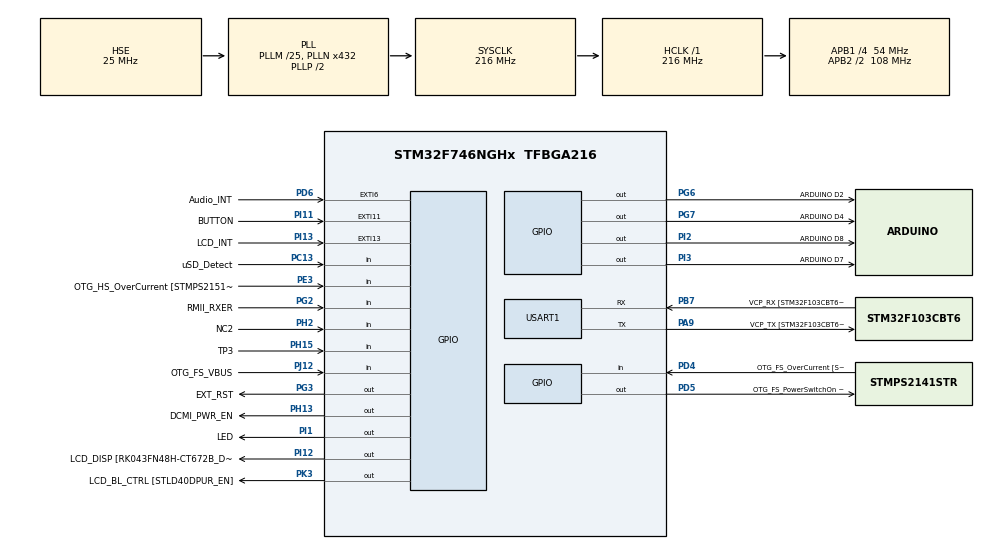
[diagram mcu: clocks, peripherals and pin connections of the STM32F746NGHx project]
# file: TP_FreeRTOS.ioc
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FREERTOS.Tasks01=defaultTask,0,128,StartDefaultTask,Default,NULL,Dynamic,NULL,NULL
Mcu.Family=STM32F7
Mcu.Name=STM32F746NGHx
Mcu.Package=TFBGA216
NVIC.PriorityGroup=NVIC_PRIORITYGROUP_4
NVIC.TIM6_DAC_IRQn=true\:15\:0\:false\:false\:true\:false\:false\:true\:true
NVIC.TimeBase=TIM6_DAC_IRQn
NVIC.TimeBaseIP=TIM6
PA0/WKUP.GPIO_Label=ARDUINO A0
PA0/WKUP.GPIO_Mode=GPIO_MODE_ANALOG
PA0/WKUP.GPIO_PuPd=GPIO_NOPULL
PA0/WKUP.Signal=ADCx_IN0
PA1.GPIO_Label=RMII_REF_CLK [LAN8742A-CZ-TR_REFCLK0]
PA1.Signal=ETH_REF_CLK
PA10.GPIO_Label=OTG_FS_ID
PA10.Signal=USB_OTG_FS_ID
PA11.GPIO_Label=OTG_FS_N
PA11.Signal=USB_OTG_FS_DM
PA12.GPIO_Label=OTG_FS_P
PA12.Signal=USB_OTG_FS_DP
PA13.GPIO_Label=SWDIO
PA13.Mode=Serial_Wire
PA13.Signal=SYS_JTMS-SWDIO
PA14.GPIO_Label=SWCLK
PA14.Mode=Serial_Wire
PA14.Signal=SYS_JTCK-SWCLK
PA15.GPIO_Label=ARDUINO PWM/D9
PA15.GPIO_ModeDefaultPP=GPIO_MODE_AF_PP
PA15.GPIO_PuPd=GPIO_NOPULL
PA15.GPIO_Speed=GPIO_SPEED_FREQ_LOW
PA15.Signal=S_TIM2_CH1_ETR
PA2.GPIO_Label=RMII_MDIO [LAN8742A-CZ-TR_MDIO]
PA2.Signal=ETH_MDIO
PA3.GPIO_Label=ULPI_D0 [USB3320C-EZK_D0]
PA3.Signal=USB_OTG_HS_ULPI_D0
PA4.GPIO_Label=DCMI_HSYNC
PA4.Signal=DCMI_HSYNC
PA5.GPIO_Label=ULPI_CLK [USB3320C-EZK_CLKOUT]
PA5.Signal=USB_OTG_HS_ULPI_CK
PA6.Signal=DCMI_PIXCLK
PA7.GPIO_Label=RMII_CRS_DV [LAN8742A-CZ-TR_CRS_DV]
PA7.Signal=ETH_CRS_DV
PA8.GPIO_Label=ARDUINO PWM/D10
PA8.GPIO_ModeDefaultPP=GPIO_MODE_AF_PP
PA8.GPIO_PuPd=GPIO_NOPULL
PA8.GPIO_Speed=GPIO_SPEED_FREQ_LOW
PA8.Signal=S_TIM1_CH1
PA9.GPIO_Label=VCP_TX [STM32F103CBT6_PA3]
PA9.GPIO_Mode=GPIO_MODE_AF_PP
PA9.GPIO_PuPd=GPIO_NOPULL
PA9.GPIO_Speed=GPIO_SPEED_FREQ_LOW
PA9.Mode=Asynchronous
PA9.Signal=USART1_TX
PB0.GPIO_Label=ULPI_D1 [USB3320C-EZK_D1]
PB0.Signal=USB_OTG_HS_ULPI_D1
PB1.GPIO_Label=ULPI_D2 [USB3320C-EZK_D2]
PB1.Signal=USB_OTG_HS_ULPI_D2
PB10.GPIO_Label=ULPI_D3 [USB3320C-EZK_D3]
PB10.Signal=USB_OTG_HS_ULPI_D3
PB11.GPIO_Label=ULPI_D4 [USB3320C-EZK_D4]
PB11.Signal=USB_OTG_HS_ULPI_D4
PB12.GPIO_Label=ULPI_D5 [USB3320C-EZK_D5]
PB12.Signal=USB_OTG_HS_ULPI_D5
PB13.GPIO_Label=ULPI_D6 [USB3320C-EZK_D6]
PB13.Signal=USB_OTG_HS_ULPI_D6
PB14.GPIO_Label=ARDUINO MISO/D12
PB14.GPIO_Mode=GPIO_MODE_AF_PP
PB14.GPIO_PuPd=GPIO_NOPULL
PB14.GPIO_Speed=GPIO_SPEED_FREQ_LOW
PB14.Signal=SPI2_MISO
PB15.GPIO_Label=ARDUINO MOSI/PWM/D11
PB15.GPIO_Mode=GPIO_MODE_AF_PP
PB15.GPIO_PuPd=GPIO_NOPULL
PB15.GPIO_Speed=GPIO_SPEED_FREQ_LOW
PB15.Signal=SPI2_MOSI
PB2.Signal=QUADSPI_CLK
PB3.GPIO_Label=SWO
PB3.Signal=SYS_JTDO-SWO
PB4.GPIO_Label=ARDUINO PWM/D3
PB4.GPIO_ModeDefaultPP=GPIO_MODE_AF_PP
PB4.GPIO_PuPd=GPIO_NOPULL
PB4.GPIO_Speed=GPIO_SPEED_FREQ_LOW
PB4.Signal=S_TIM3_CH1
PB5.GPIO_Label=ULPI_D7 [USB3320C-EZK_D7]
PB5.Signal=USB_OTG_HS_ULPI_D7
PB6.GPIO_Label=QSPI_NCS [N25Q128A13EF840E_S]
PB6.Signal=QUADSPI_BK1_NCS
PB7.GPIO_Label=VCP_RX [STM32F103CBT6_PA2]
PB7.GPIO_Mode=GPIO_MODE_AF_PP
PB7.GPIO_PuPd=GPIO_NOPULL
PB7.GPIO_Speed=GPIO_SPEED_FREQ_LOW
PB7.Mode=Asynchronous
PB7.Signal=USART1_RX
PB8.GPIO_Label=ARDUINO SCL/D15
PB8.GPIO_Mode=GPIO_MODE_AF_OD
PB8.GPIO_PuPd=GPIO_NOPULL
PB8.GPIO_Speed=GPIO_SPEED_FREQ_LOW
PB8.Signal=I2C1_SCL
PB9.GPIO_Label=ARDUINO SDA/D14
PB9.GPIO_Mode=GPIO_MODE_AF_OD
PB9.GPIO_PuPd=GPIO_NOPULL
PB9.GPIO_Speed=GPIO_SPEED_FREQ_LOW
PB9.Signal=I2C1_SDA
PC0.GPIO_Label=ULPI_STP [USB3320C-EZK_STP]
PC0.Signal=USB_OTG_HS_ULPI_STP
PC1.GPIO_Label=RMII_MDC [LAN8742A-CZ-TR_MDC]
PC1.Signal=ETH_MDC
PC10.GPIO_Label=SDMMC_D2
PC10.Signal=SDMMC1_D2
PC11.GPIO_Label=SDMMC_D3
PC11.Signal=SDMMC1_D3
PC12.GPIO_Label=SDMMC_CK
PC12.Signal=SDMMC1_CK
PC13.GPIO_Label=uSD_Detect
PC13.Signal=GPIO_Input
PC14/OSC32_IN.GPIO_Label=RCC_OSC32_IN
PC14/OSC32_IN.Signal=RCC_OSC32_IN
PC15/OSC32_OUT.GPIO_Label=RCC_OSC32_OUT
PC15/OSC32_OUT.Signal=RCC_OSC32_OUT
PC2.GPIO_Label=ULPI_DIR [USB3320C-EZK_DIR]
PC2.Signal=USB_OTG_HS_ULPI_DIR
PC3.GPIO_Label=FMC_SDCKE0 [MT48LC4M32B2B5-6A_CKE]
PC3.Signal=FMC_SDCKE0
PC4.GPIO_Label=RMII_RXD0 [LAN8742A-CZ-TR_RXD0]
PC4.Signal=ETH_RXD0
PC5.GPIO_Label=RMII_RXD1 [LAN8742A-CZ-TR_RXD1]
PC5.Signal=ETH_RXD1
PC6.GPIO_Label=ARDUINO TX/D1
PC6.Signal=USART6_TX
PC7.GPIO_Label=ARDUINO RX/D0
PC7.Signal=USART6_RX
PC8.Signal=SDMMC1_D0
PC9.Signal=SDMMC1_D1
PD0.GPIO_Label=FMC_D2 [MT48LC4M32B2B5-6A_DQ2]
PD0.Signal=FMC_D2_DA2
PD1.GPIO_Label=FMC_D3 [MT48LC4M32B2B5-6A_DQ3]
PD1.Signal=FMC_D3_DA3
PD10.GPIO_Label=FMC_D15 [MT48LC4M32B2B5-6A_DQ15]
PD10.Signal=FMC_D15_DA15
PD11.GPIO_Label=QSPI_D0 [N25Q128A13EF840E_DQ0]
PD11.Signal=QUADSPI_BK1_IO0
PD12.GPIO_Label=QSPI_D1 [N25Q128A13EF840E_DQ1]
PD12.Signal=QUADSPI_BK1_IO1
PD13.GPIO_Label=QSPI_D3 [N25Q128A13EF840E_DQ3]
PD13.Signal=QUADSPI_BK1_IO3
PD14.GPIO_Label=FMC_D0 [MT48LC4M32B2B5-6A_DQ0]
PD14.Signal=FMC_D0_DA0
PD15.GPIO_Label=FMC_D1 [MT48LC4M32B2B5-6A_DQ1]
PD15.Signal=FMC_D1_DA1
PD2.GPIO_Label=SDMMC_D0
PD2.Signal=SDMMC1_CMD
PD3.GPIO_Label=DCMI_D5
PD3.Signal=DCMI_D5
PD4.GPIO_Label=OTG_FS_OverCurrent [STMPS2141STR_Fault]
PD4.Signal=GPIO_Input
PD5.GPIO_Label=OTG_FS_PowerSwitchOn [STMPS2141STR_EN]
PD5.PinState=GPIO_PIN_SET
PD5.Signal=GPIO_Output
PD6.GPIO_Label=Audio_INT
PD6.GPIO_ModeDefaultEXTI=GPIO_MODE_EVT_RISING
PD6.Signal=GPXTI6
PD7.GPIO_Label=SPDIF_RX0 [74LVC1G04SE_4]
PD7.Signal=SPDIFRX_IN0
PD8.GPIO_Label=FMC_D13 [MT48LC4M32B2B5-6A_DQ13]
PD8.Signal=FMC_D13_DA13
PD9.GPIO_Label=FMC_D14 [MT48LC4M32B2B5-6A_DQ14]
PD9.Signal=FMC_D14_DA14
PE0.GPIO_Label=FMC_NBL0 [MT48LC4M32B2B5-6A_DQM0]
PE0.Signal=FMC_NBL0
PE1.GPIO_Label=FMC_NBL1 [MT48LC4M32B2B5-6A_DQM1]
PE1.Signal=FMC_NBL1
PE10.GPIO_Label=FMC_D7 [MT48LC4M32B2B5-6A_DQ7]
PE10.Signal=FMC_D7_DA7
PE11.GPIO_Label=FMC_D8 [MT48LC4M32B2B5-6A_DQ8]
PE11.Signal=FMC_D8_DA8
PE12.GPIO_Label=FMC_D9 [MT48LC4M32B2B5-6A_DQ9]
PE12.Signal=FMC_D9_DA9
PE13.GPIO_Label=FMC_D10 [MT48LC4M32B2B5-6A_DQ10]
PE13.Signal=FMC_D10_DA10
PE14.GPIO_Label=FMC_D11 [MT48LC4M32B2B5-6A_DQ11]
PE14.Signal=FMC_D11_DA11
PE15.GPIO_Label=FMC_D12 [MT48LC4M32B2B5-6A_DQ12]
PE15.Signal=FMC_D12_DA12
PE2.GPIO_Label=QSPI_D2 [N25Q128A13EF840E_DQ2]
PE2.Signal=QUADSPI_BK1_IO2
PE3.GPIO_Label=OTG_HS_OverCurrent [STMPS2151STR_FAULT]
PE3.Signal=GPIO_Input
PE4.GPIO_Label=LCD_B0 [RK043FN48H-CT672B_B0]
PE4.Signal=LTDC_B0
PE5.GPIO_Label=DCMI_D6
PE5.Signal=DCMI_D6
PE6.GPIO_Label=DCMI_D7
PE6.Signal=DCMI_D7
PE7.GPIO_Label=FMC_D4 [MT48LC4M32B2B5-6A_DQ4]
PE7.Signal=FMC_D4_DA4
PE8.GPIO_Label=FMC_D5 [MT48LC4M32B2B5-6A_DQ5]
PE8.Signal=FMC_D5_DA5
PE9.GPIO_Label=FMC_D6 [MT48LC4M32B2B5-6A_DQ6]
PE9.Signal=FMC_D6_DA6
PF0.GPIO_Label=FMC_A0 [MT48LC4M32B2B5-6A_A0]
PF0.Signal=FMC_A0
PF1.GPIO_Label=FMC_A1 [MT48LC4M32B2B5-6A_A1]
PF1.Signal=FMC_A1
PF10.GPIO_Label=ARDUINO A1
PF10.GPIO_Mode=GPIO_MODE_ANALOG
PF10.GPIO_PuPd=GPIO_NOPULL
PF10.Signal=ADC3_IN8
PF11.GPIO_Label=FMC_SDNRAS [MT48LC4M32B2B5-6A_RAS]
PF11.Signal=FMC_SDNRAS
PF12.GPIO_Label=FMC_A6 [MT48LC4M32B2B5-6A_A6]
PF12.Signal=FMC_A6
PF13.GPIO_Label=FMC_A7 [MT48LC4M32B2B5-6A_A7]
PF13.Signal=FMC_A7
PF14.GPIO_Label=FMC_A8 [MT48LC4M32B2B5-6A_A8]
PF14.Signal=FMC_A8
PF15.GPIO_Label=FMC_A9 [MT48LC4M32B2B5-6A_A9]
PF15.Signal=FMC_A9
PF2.GPIO_Label=FMC_A2 [MT48LC4M32B2B5-6A_A2]
PF2.Signal=FMC_A2
PF3.GPIO_Label=FMC_A3 [MT48LC4M32B2B5-6A_A3]
PF3.Signal=FMC_A3
PF4.GPIO_Label=FMC_A4 [MT48LC4M32B2B5-6A_A4]
PF4.Signal=FMC_A4
PF5.GPIO_Label=FMC_A5 [MT48LC4M32B2B5-6A_A5]
PF5.Signal=FMC_A5
PF6.GPIO_Label=ARDUINO A5
PF6.GPIO_Mode=GPIO_MODE_ANALOG
PF6.GPIO_PuPd=GPIO_NOPULL
PF6.Signal=ADC3_IN4
PF7.GPIO_Label=ARDUINO A4
PF7.GPIO_Mode=GPIO_MODE_ANALOG
PF7.GPIO_PuPd=GPIO_NOPULL
PF7.Signal=ADC3_IN5
PF8.GPIO_Label=ARDUINO A3
PF8.GPIO_Mode=GPIO_MODE_ANALOG
PF8.GPIO_PuPd=GPIO_NOPULL
PF8.Signal=ADC3_IN6
PF9.GPIO_Label=ARDUINO A2
PF9.GPIO_Mode=GPIO_MODE_ANALOG
PF9.GPIO_PuPd=GPIO_NOPULL
PF9.Signal=ADC3_IN7
PG0.GPIO_Label=FMC_A10 [MT48LC4M32B2B5-6A_A10]
PG0.Signal=FMC_A10
PG1.GPIO_Label=FMC_A11 [MT48LC4M32B2B5-6A_A11]
PG1.Signal=FMC_A11
PG10.GPIO_Label=SAI2_SDB [WM8994ECS/R_ADCDAT1]
PG10.Signal=SAI2_SD_B
PG11.GPIO_Label=RMII_TX_EN [LAN8742A-CZ-TR_TXEN]
PG11.Signal=ETH_TX_EN
PG12.GPIO_Label=LCD_B4 [RK043FN48H-CT672B_B4]
PG12.Signal=LTDC_B4
PG13.GPIO_Label=RMII_TXD0 [LAN8742A-CZ-TR_TXD0]
PG13.Signal=ETH_TXD0
PG14.GPIO_Label=RMII_TXD1 [LAN8742A-CZ-TR_TXD1]
PG14.Signal=ETH_TXD1
PG15.GPIO_Label=FMC_SDNCAS [MT48LC4M32B2B5-6A_CAS]
PG15.Signal=FMC_SDNCAS
PG2.GPIO_Label=RMII_RXER
PG2.Signal=GPIO_Input
PG3.GPIO_Label=EXT_RST
PG3.Signal=GPIO_Output
PG4.GPIO_Label=FMC_BA0 [MT48LC4M32B2B5-6A_BA0]
PG4.Signal=FMC_A14_BA0
PG5.GPIO_Label=FMC_BA1 [MT48LC4M32B2B5-6A_BA1]
PG5.Signal=FMC_A15_BA1
PG6.GPIO_Label=ARDUINO D2
PG6.Signal=GPIO_Output
PG7.GPIO_Label=ARDUINO D4
PG7.Signal=GPIO_Output
PG8.GPIO_Label=FMC_SDCLK [MT48LC4M32B2B5-6A_CLK]
PG8.Signal=FMC_SDCLK
PG9.GPIO_Label=DCMI_VSYNC
PG9.Signal=DCMI_VSYNC
PH0/OSC_IN.GPIO_Label=OSC_25M [NZ2520SB-25.00M_OUT]
PH0/OSC_IN.Mode=HSE-External-Oscillator
PH0/OSC_IN.Signal=RCC_OSC_IN
PH1/OSC_OUT.Mode=HSE-External-Oscillator
PH1/OSC_OUT.Signal=RCC_OSC_OUT
PH10.GPIO_Label=DCMI_D1
PH10.Signal=DCMI_D1
PH11.GPIO_Label=DCMI_D2
PH11.Signal=DCMI_D2
PH12.GPIO_Label=DCMI_D3
PH12.Signal=DCMI_D3
PH13.GPIO_Label=DCMI_PWR_EN
PH13.Signal=GPIO_Output
PH14.GPIO_Label=DCMI_D4
PH14.Signal=DCMI_D4
PH15.GPIO_Label=TP3
PH15.Signal=GPIO_Input
PH2.GPIO_Label=NC2
PH2.Signal=GPIO_Input
PH3.GPIO_Label=FMC_SDNE0 [MT48LC4M32B2B5-6A_CS]
PH3.Signal=FMC_SDNE0
PH4.GPIO_Label=ULPI_NXT [USB3320C-EZK_NXT]
PH4.Signal=USB_OTG_HS_ULPI_NXT
PH5.GPIO_Label=FMC_SDNME [MT48LC4M32B2B5-6A_WE]
PH5.Signal=FMC_SDNWE
PH6.GPIO_Label=ARDUINO PWM/D6
PH6.Signal=S_TIM12_CH1
PH7.GPIO_Label=LCD_SCL [RK043FN48H-CT672B_SCL]
PH7.Signal=I2C3_SCL
PH8.GPIO_Label=LCD_SDA [RK043FN48H-CT672B_SDA]
PH8.Signal=I2C3_SDA
PH9.GPIO_Label=DCMI_D0
PH9.Signal=DCMI_D0
PI0.GPIO_Label=ARDUINO PWM/CS/D5
PI0.GPIO_ModeDefaultPP=GPIO_MODE_AF_PP
PI0.GPIO_PuPd=GPIO_NOPULL
PI0.GPIO_Speed=GPIO_SPEED_FREQ_LOW
PI0.Signal=S_TIM5_CH4
PI1.GPIO_Label=LED
PI1.Signal=GPIO_Output
PI10.GPIO_Label=LCD_HSYNC [RK043FN48H-CT672B_HSYNC]
PI10.Signal=LTDC_HSYNC
PI11.GPIO_Label=BUTTON
PI11.Signal=GPXTI11
PI12.GPIO_Label=LCD_DISP [RK043FN48H-CT672B_DISP] 
PI12.Signal=GPIO_Output
PI13.GPIO_Label=LCD_INT
PI13.GPIO_ModeDefaultEXTI=GPIO_MODE_EVT_RISING
PI13.Signal=GPXTI13
PI14.GPIO_Label=LCD_CLK [RK043FN48H-CT672B_CLK]
PI14.Signal=LTDC_CLK
PI15.GPIO_Label=LCD_R0 [RK043FN48H-CT672B_R0]
PI15.Signal=LTDC_R0
PI2.GPIO_Label=ARDUINO D8
PI2.Signal=GPIO_Output
PI3.GPIO_Label=ARDUINO D7
PI3.Signal=GPIO_Output
PI4.GPIO_Label=SAI2_MCLKA [WM8994ECS/R_MCLK1]
PI4.Signal=SAI2_MCLK_A
PI5.GPIO_Label=SAI2_SCKA [WM8994ECS/R_BCLK1]
PI5.Signal=SAI2_SCK_A
PI6.GPIO_Label=SAI2_SDA [WM8994ECS/R_DACDAT1]
PI6.Signal=SAI2_SD_A
PI7.GPIO_Label=SAI2_FSA [WM8994ECS/R_LRCLK1]
PI7.Signal=SAI2_FS_A
PI8.GPIO_Label=NC1 [TP2]
PI8.Signal=RTC_TS
PI9.GPIO_Label=LCD_VSYNC [RK043FN48H-CT672B_VSYNC]
PI9.Signal=LTDC_VSYNC
PJ0.GPIO_Label=LCD_R1 [RK043FN48H-CT672B_R1]
PJ0.Signal=LTDC_R1
PJ1.GPIO_Label=LCD_R2 [RK043FN48H-CT672B_R2]
PJ1.Signal=LTDC_R2
PJ10.GPIO_Label=LCD_G3 [RK043FN48H-CT672B_G3]
PJ10.Signal=LTDC_G3
PJ11.GPIO_Label=LCD_G4 [RK043FN48H-CT672B_G4]
PJ11.Signal=LTDC_G4
PJ12.GPIO_Label=OTG_FS_VBUS
PJ12.Signal=GPIO_Input
PJ13.GPIO_Label=LCD_B1 [RK043FN48H-CT672B_B1]
PJ13.Signal=LTDC_B1
PJ14.GPIO_Label=LCD_B2 [RK043FN48H-CT672B_B2]
PJ14.Signal=LTDC_B2
PJ15.GPIO_Label=LCD_B3 [RK043FN48H-CT672B_B3]
PJ15.Signal=LTDC_B3
PJ2.GPIO_Label=LCD_R3 [RK043FN48H-CT672B_R3]
PJ2.Signal=LTDC_R3
PJ3.GPIO_Label=LCD_R4 [RK043FN48H-CT672B_R4]
PJ3.Signal=LTDC_R4
PJ4.GPIO_Label=LCD_R5 [RK043FN48H-CT672B_R5]
PJ4.Signal=LTDC_R5
PJ5.GPIO_Label=LCD_R6 [RK043FN48H-CT672B_R6]
PJ5.Signal=LTDC_R6
PJ6.GPIO_Label=LCD_R7 [RK043FN48H-CT672B_R7]
PJ6.Signal=LTDC_R7
PJ7.GPIO_Label=LCD_G0 [RK043FN48H-CT672B_G0]
PJ7.Signal=LTDC_G0
PJ8.GPIO_Label=LCD_G1 [RK043FN48H-CT672B_G1]
PJ8.Signal=LTDC_G1
PJ9.GPIO_Label=LCD_G2 [RK043FN48H-CT672B_G2]
PJ9.Signal=LTDC_G2
PK0.GPIO_Label=LCD_G5 [RK043FN48H-CT672B_G5]
PK0.Signal=LTDC_G5
PK1.GPIO_Label=LCD_G6 [RK043FN48H-CT672B_G6]
PK1.Signal=LTDC_G6
PK2.GPIO_Label=LCD_G7 [RK043FN48H-CT672B_G7]
PK2.Signal=LTDC_G7
PK3.GPIO_Label=LCD_BL_CTRL [STLD40DPUR_EN]
PK3.Signal=GPIO_Output
PK4.GPIO_Label=LCD_B5 [RK043FN48H-CT672B_B5]
PK4.Signal=LTDC_B5
PK5.GPIO_Label=LCD_B6 [RK043FN48H-CT672B_B6]
PK5.Signal=LTDC_B6
PK6.GPIO_Label=LCD_B7 [RK043FN48H-CT672B_B7]
PK6.Signal=LTDC_B7
PK7.GPIO_Label=LCD_DE [RK043FN48H-CT672B_DE]
PK7.Signal=LTDC_DE
ProjectManager.HeapSize=0x200
ProjectManager.StackSize=0x400
ProjectManager.TargetToolchain=STM32CubeIDE
RCC.AHBFreq_Value=216000000
RCC.APB1CLKDivider=RCC_HCLK_DIV4
RCC.APB1Freq_Value=54000000
RCC.APB1TimFreq_Value=108000000
RCC.APB2CLKDivider=RCC_HCLK_DIV2
RCC.APB2Freq_Value=108000000
RCC.APB2TimFreq_Value=216000000
RCC.CortexFreq_Value=216000000
RCC.HCLKFreq_Value=216000000
RCC.HSE_VALUE=25000000
RCC.HSI_VALUE=16000000
RCC.LSE_VALUE=32768
RCC.PLLM=25
RCC.PLLN=432
RCC.PLLSourceVirtual=RCC_PLLSOURCE_HSE
RCC.SYSCLKFreq_VALUE=216000000
RCC.SYSCLKSource=RCC_SYSCLKSOURCE_PLLCLK
RCC.USBFreq_Value=216000000
RCC.VCOOutputFreq_Value=432000000
SH.ADCx_IN0.0=ADC3_IN0
SH.FMC_A0.0=FMC_A0
SH.FMC_A1.0=FMC_A1
SH.FMC_A10.0=FMC_A10
SH.FMC_A11.0=FMC_A11
SH.FMC_A14_BA0.0=FMC_BA0
SH.FMC_A15_BA1.0=FMC_BA1
SH.FMC_A2.0=FMC_A2
SH.FMC_A3.0=FMC_A3
SH.FMC_A4.0=FMC_A4
SH.FMC_A5.0=FMC_A5
SH.FMC_A6.0=FMC_A6
SH.FMC_A7.0=FMC_A7
SH.FMC_A8.0=FMC_A8
SH.FMC_A9.0=FMC_A9
SH.FMC_D0_DA0.0=FMC_D0
SH.FMC_D10_DA10.0=FMC_D10
SH.FMC_D11_DA11.0=FMC_D11
SH.FMC_D12_DA12.0=FMC_D12
SH.FMC_D13_DA13.0=FMC_D13
SH.FMC_D14_DA14.0=FMC_D14
SH.FMC_D15_DA15.0=FMC_D15
SH.FMC_D1_DA1.0=FMC_D1
SH.FMC_D2_DA2.0=FMC_D2
SH.FMC_D3_DA3.0=FMC_D3
SH.FMC_D4_DA4.0=FMC_D4
SH.FMC_D5_DA5.0=FMC_D5
SH.FMC_D6_DA6.0=FMC_D6
SH.FMC_D7_DA7.0=FMC_D7
SH.FMC_D8_DA8.0=FMC_D8
SH.FMC_D9_DA9.0=FMC_D9
SH.FMC_NBL0.0=FMC_NBL0
SH.FMC_NBL1.0=FMC_NBL1
SH.FMC_SDCLK.0=FMC_SDCLK
SH.FMC_SDNCAS.0=FMC_SDNCAS
SH.FMC_SDNRAS.0=FMC_SDNRAS
SH.FMC_SDNWE.0=FMC_SDNWE
SH.S_TIM12_CH1.0=TIM12_CH1
SH.S_TIM1_CH1.0=TIM1_CH1
SH.S_TIM2_CH1_ETR.0=TIM2_CH1
SH.S_TIM3_CH1.0=TIM3_CH1
SH.S_TIM5_CH4.0=TIM5_CH4
USART1.VirtualMode-Asynchronous=VM_ASYNC
VP_FREERTOS_VS_CMSIS_V1.Mode=CMSIS_V1
VP_SYS_VS_tim6.Mode=TIM6
board=STM32F746G-DISCO

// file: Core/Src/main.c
/* USER CODE BEGIN Header */
/**
 ******************************************************************************
 * @file           : main.c
 * @brief          : Main program body
 ******************************************************************************
 * @attention
 *
 * Copyright (c) 2024 STMicroelectronics.
 * All rights reserved.
 *
 * This software is licensed under terms that can be found in the LICENSE file
 * in the root directory of this software component.
 * If no LICENSE file comes with this software, it is provided AS-IS.
 *
 ******************************************************************************
 */
/* USER CODE END Header */
#include "main.h"
#include "cmsis_os.h"
#include "usart.h"
#include "gpio.h"
#include <stdio.h>

/* USER CODE BEGIN PV */
TaskHandle_t handle_task_blink_led;
TaskHandle_t handle_taskGive;
TaskHandle_t handle_taskTake;
/* USER CODE END PV */

void SystemClock_Config(void);
void MX_FREERTOS_Init(void);

/* USER CODE BEGIN 0 */
int __io_putchar(int ch) {
	HAL_UART_Transmit(&huart1, (uint8_t *)&ch, 1, HAL_MAX_DELAY);
	return ch;
}

void task_blink_led(void * unused){
	for( ;; )
	{
		/* Simply toggle the LED every 100ms, blocking between each toggle. */
		HAL_GPIO_TogglePin(LED_GPIO_Port, LED_Pin);
		printf("LED Toggle\r\n");
		//vToggleLED();
		vTaskDelay( 100 / portTICK_PERIOD_MS );
	}
}

void taskGive(void * unused){

}

void taskTake(void * unused){

}

/* USER CODE END 0 */

int main(void)
{

	/* MCU Configuration--------------------------------------------------------*/

	/* Reset of all peripherals, Initializes the Flash interface and the Systick. */
	HAL_Init();

	/* Configure the system clock */
	SystemClock_Config();

	/* Initialize all configured peripherals */
	MX_GPIO_Init();
	MX_USART1_UART_Init();
	/* USER CODE BEGIN 2 */
	//début du code

	xTaskCreate(
			task_blink_led,
			"LED",
			256,
			NULL,
			1,
			&handle_task_blink_led
	);

	xTaskCreate(
			taskGive,
			"Give Sem every 100ms",
			256,
			NULL,
			3,
			&handle_taskGive
	);

	xTaskCreate(
			taskTake,
			"Take Sem",
			256,
			NULL,
			2,
			&handle_taskTake
	);

	vTaskStartScheduler();	// Ne rien coder apres cette ligne!
	/* USER CODE END 2 */

	/* Call init function for freertos objects (in freertos.c) */
	MX_FREERTOS_Init();

	/* Start scheduler */
	osKernelStart();

	/* We should never get here as control is now taken by the scheduler */
	/* Infinite loop */
	while (1)
	{

	}
}

void SystemClock_Config(void)
{
	RCC_OscInitTypeDef RCC_OscInitStruct = {0};
	RCC_ClkInitTypeDef RCC_ClkInitStruct = {0};

	/** Configure the main internal regulator output voltage
	 */
	__HAL_RCC_PWR_CLK_ENABLE();
	__HAL_PWR_VOLTAGESCALING_CONFIG(PWR_REGULATOR_VOLTAGE_SCALE1);

	/** Initializes the RCC Oscillators according to the specified parameters
	 * in the RCC_OscInitTypeDef structure.
	 */
	RCC_OscInitStruct.OscillatorType = RCC_OSCILLATORTYPE_HSE;
	RCC_OscInitStruct.HSEState = RCC_HSE_ON;
	RCC_OscInitStruct.PLL.PLLState = RCC_PLL_ON;
	RCC_OscInitStruct.PLL.PLLSource = RCC_PLLSOURCE_HSE;
	RCC_OscInitStruct.PLL.PLLM = 25;
	RCC_OscInitStruct.PLL.PLLN = 432;
	RCC_OscInitStruct.PLL.PLLP = RCC_PLLP_DIV2;
	RCC_OscInitStruct.PLL.PLLQ = 2;
	if (HAL_RCC_OscConfig(&RCC_OscInitStruct) != HAL_OK)
	{
		Error_Handler();
	}

	/** Activate the Over-Drive mode
	 */
	if (HAL_PWREx_EnableOverDrive() != HAL_OK)
	{
		Error_Handler();
	}

	/** Initializes the CPU, AHB and APB buses clocks
	 */
	RCC_ClkInitStruct.ClockType = RCC_CLOCKTYPE_HCLK|RCC_CLOCKTYPE_SYSCLK
			|RCC_CLOCKTYPE_PCLK1|RCC_CLOCKTYPE_PCLK2;
	RCC_ClkInitStruct.SYSCLKSource = RCC_SYSCLKSOURCE_PLLCLK;
	RCC_ClkInitStruct.AHBCLKDivider = RCC_SYSCLK_DIV1;
	RCC_ClkInitStruct.APB1CLKDivider = RCC_HCLK_DIV4;
	RCC_ClkInitStruct.APB2CLKDivider = RCC_HCLK_DIV2;

	if (HAL_RCC_ClockConfig(&RCC_ClkInitStruct, FLASH_LATENCY_7) != HAL_OK)
	{
		Error_Handler();
	}
}

void HAL_TIM_PeriodElapsedCallback(TIM_HandleTypeDef *htim)
{
	if (htim->Instance == TIM6) {
		HAL_IncTick();
	}
}

void Error_Handler(void)
{
	__disable_irq();
	while (1)
	{
	}
}
